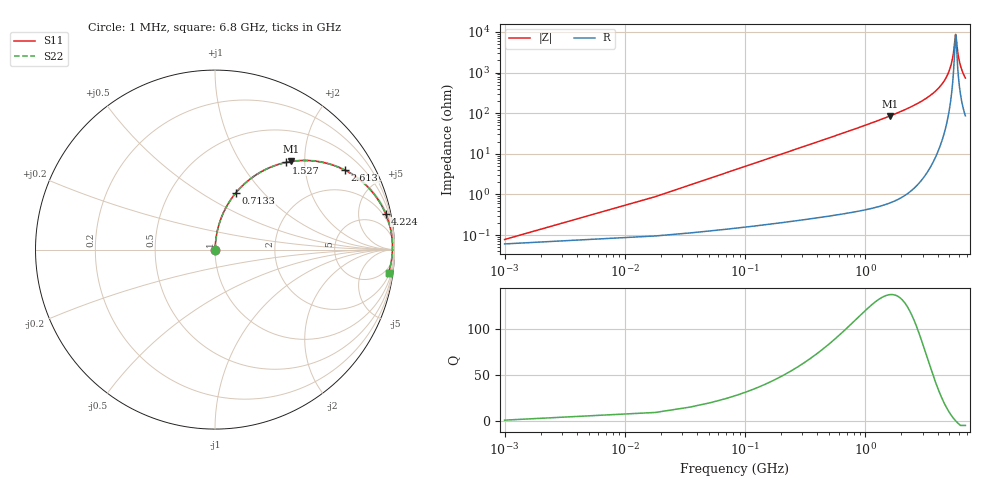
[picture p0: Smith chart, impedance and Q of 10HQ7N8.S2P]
! Coilcraft 1008HQ-7N8 Chip Inductor
! 10 July 2002
# MHZ S MA R 50
!Freq  MagS11  AngS11  MagS21  AngS21  MagS12  AngS12  MagS22  AngS22
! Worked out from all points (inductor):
!   402 points, 1 MHz to 6.8 GHz, reference 50 ohm
!   read as one part in series: L = 7.8 nH near 34.92 MHz
!   highest Q = 138 at 1.612 GHz (marker M1), where L = 8.49 nH
!   self-resonance near 5.632 GHz
!   S11 on the Smith chart (normalised r, x): 1 MHz: 1.00, +0.00; 713.3 MHz: 1.01, +0.71; 1.527 GHz: 1.01, +1.62; 2.613 GHz: 1.03, +3.26; 4.224 GHz: 1.33, +9.40; 6.8 GHz: 3, -15
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1  0.0007797 38.9  0.9994 -0.0  0.9994 -0.0  0.0007797 38.9
51.88  0.02542 85.7  0.9984 -1.5  0.9984 -1.5  0.02542 85.7
85.8  0.04199 85.6  0.9976 -2.4  0.9976 -2.4  0.04199 85.6
153.64  0.07503 84.3  0.9954 -4.3  0.9954 -4.3  0.07503 84.3
357.16  0.1727 79.2  0.9825 -9.9  0.9825 -9.9  0.1727 79.2
713.32  0.3338 69.9  0.9394 -19.5  0.9394 -19.5  0.3338 69.9
1137.32  0.5007 59.5  0.8617 -30.0  0.8617 -30.0  0.5007 59.5
1527.4  0.6261 50.8  0.7752 -38.8  0.7752 -38.8  0.6261 50.8
1612.2  0.6499 49.1  0.7554 -40.5  0.7554 -40.5  0.6499 49.1
2273.64  0.7962 36.8  0.5986 -52.8  0.5986 -52.8  0.7962 36.8
2612.84  0.8488 31.4  0.5208 -58.1  0.5208 -58.1  0.8488 31.4
3409.96  0.9298 20.7  0.3533 -68.4  0.3533 -68.4  0.9298 20.7
4224.04  0.9712 11.9  0.2065 -76.1  0.2065 -76.1  0.9712 11.9
4546.28  0.9799 8.9  0.1547 -78.1  0.1547 -78.1  0.9799 8.9
5190.76  0.9883 3.4  0.06076 -77.2  0.06076 -77.2  0.9883 3.4
5411.24  0.9889 1.7  0.03201 -68.9  0.03201 -68.9  0.9889 1.7
5614.76  0.9887 0.2  0.01191 -18.5  0.01191 -18.5  0.9887 0.2
5682.6  0.9885 -0.3  0.01245 22.2  0.01245 22.2  0.9885 -0.3
5886.12  0.9873 -1.7  0.03225 66.1  0.03225 66.1  0.9873 -1.7
6089.64  0.9856 -3.1  0.05556 73.5  0.05556 73.5  0.9856 -3.1
6394.92  0.982 -5.1  0.08981 75.9  0.08981 75.9  0.982 -5.1
6800  0.9757 -7.6  0.1328 75.7  0.1328 75.7  0.9757 -7.6
